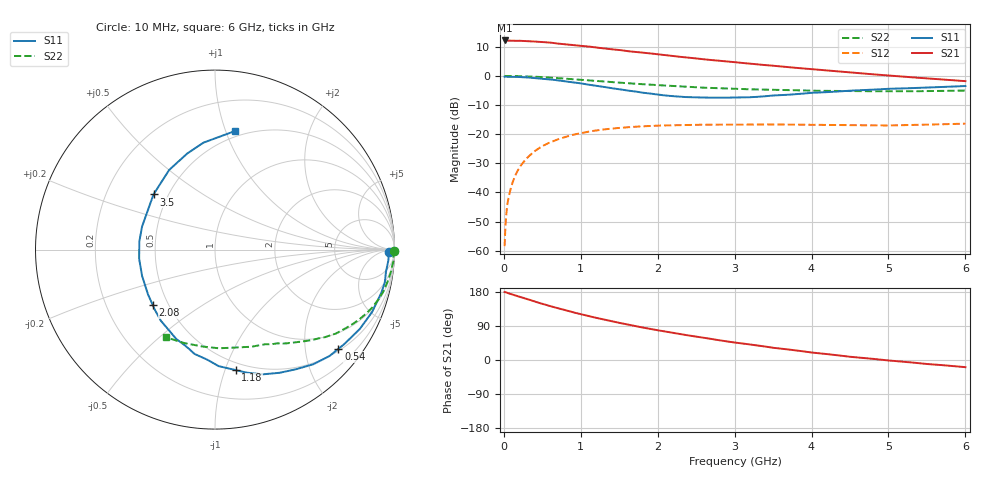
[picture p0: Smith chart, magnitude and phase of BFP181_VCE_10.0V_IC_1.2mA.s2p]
! Infineon Technologies  Discrete & RF Semiconductors
! BFP181
! VCE = 10.0V,  IC =  1.2 mA
! Common Emitter S-Parameters:  Jan 2016
# GHz  S  MA  R  50
!  f  S11  S21  S12  S22
! GHz  MAG  ANG  MAG  ANG  MAG  ANG  MAG  ANG
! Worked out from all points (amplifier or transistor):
!   210 points, 10 MHz to 6 GHz, reference 50 ohm
!   highest |S21| = 12.1 dB at 10 MHz (marker M1)
!   |S21| within 3 dB of that: start of sweep to 1.393 GHz
!   unconditionally stable (mu >= 1): 3.016 GHz to end of sweep
!   at 185 MHz: K = 0.08, MSG = 22.2 dB, |S12| = -32.3 dB
!   at 1.52 GHz: K = 0.55, MSG = 13.3 dB, |S12| = -17.8 dB
!   at 6 GHz: K = 1.25, MAG = 4.3 dB, |S12| = -16.4 dB
!   S11 on the Smith chart (normalised r, x): 10 MHz: 51, -22; 540 MHz: 0.55, -2.74; 1.18 GHz: 0.43, -1.09; 2.08 GHz: 0.41, -0.32; 3.5 GHz: 0.42, +0.32; 6 GHz: 0.45, +1.08
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0.01  0.9674 -0.8  4.048 179.3  0.0012 70.1  0.9969 -0.3
0.025  0.9673 -2.1  4.028 178.7  0.0032 87.6  0.9938 -0.9
0.05  0.968 -3.5  4.018 176.8  0.0068 88.3  0.9946 -1.8
0.085  0.9624 -6.2  3.999 174.6  0.0111 84.9  0.9961 -3.0
0.14  0.9626 -10.2  3.983 171.0  0.0184 81.8  0.9922 -4.9
0.3  0.9417 -21.7  3.957 161.2  0.0388 75.5  0.9785 -10.3
0.4  0.9201 -28.7  3.879 154.3  0.051 71.2  0.9678 -13.7
0.54  0.8821 -38.8  3.77 145.7  0.0662 64.6  0.9454 -18.1
0.8  0.8044 -56.0  3.496 131.2  0.0898 54.0  0.8964 -25.4
1.02  0.7359 -70.4  3.252 119.9  0.1056 46.6  0.8527 -30.7
1.18  0.6817 -80.2  3.088 112.2  0.1149 41.2  0.8233 -34.3
1.52  0.5859 -102.2  2.761 97.2  0.1285 32.7  0.7609 -40.5
1.8  0.5156 -120.3  2.506 85.8  0.1363 27.0  0.7199 -44.9
2.02  0.4746 -134.8  2.328 77.8  0.1403 22.9  0.6916 -48.1
2.08  0.464 -138.5  2.275 75.8  0.141 21.8  0.6843 -49.0
2.44  0.4289 -162.7  2.031 63.6  0.1445 16.4  0.6447 -54.2
2.8  0.4241 174.0  1.82 52.1  0.1457 12.1  0.6142 -59.2
3.1  0.4265 157.4  1.666 43.6  0.1458 9.2  0.5925 -63.5
3.5  0.4603 138.1  1.493 32.3  0.1468 6.0  0.5778 -69.5
4.1  0.5182 117.1  1.27 17.8  0.1443 3.0  0.5549 -80.1
5.1  0.6046 94.3  0.99 -2.9  0.1419 1.3  0.5437 -100.0
6  0.6695 80.5  0.812 -18.9  0.1516 2.0  0.5593 -118.9
